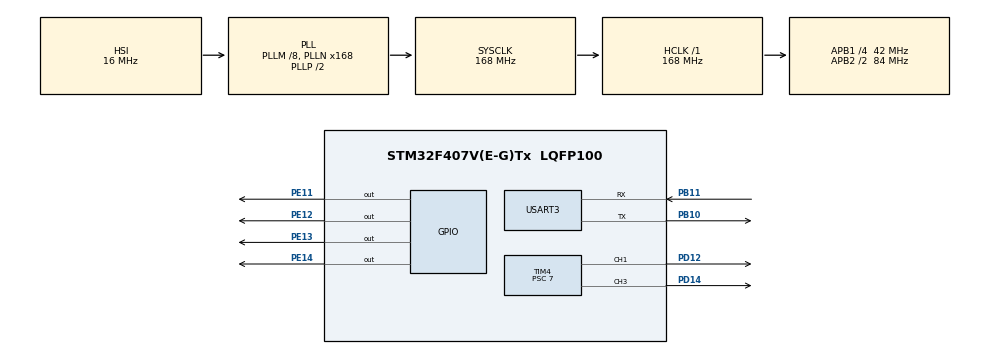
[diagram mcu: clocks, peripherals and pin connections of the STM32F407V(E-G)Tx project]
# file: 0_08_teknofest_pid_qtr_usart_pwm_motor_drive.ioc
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Mcu.Family=STM32F4
Mcu.Name=STM32F407V(E-G)Tx
Mcu.Package=LQFP100
NVIC.PriorityGroup=NVIC_PRIORITYGROUP_4
PB10.Mode=Asynchronous
PB10.Signal=USART3_TX
PB11.Mode=Asynchronous
PB11.Signal=USART3_RX
PD12.Signal=S_TIM4_CH1
PD14.Signal=S_TIM4_CH3
PE11.Signal=GPIO_Output
PE12.Signal=GPIO_Output
PE13.Signal=GPIO_Output
PE14.Signal=GPIO_Output
PH0-OSC_IN.Mode=HSE-External-Oscillator
PH0-OSC_IN.Signal=RCC_OSC_IN
PH1-OSC_OUT.Mode=HSE-External-Oscillator
PH1-OSC_OUT.Signal=RCC_OSC_OUT
ProjectManager.HeapSize=0x200
ProjectManager.StackSize=0x400
ProjectManager.TargetToolchain=TrueSTUDIO
RCC.48MHZClocksFreq_Value=84000000
RCC.AHBFreq_Value=168000000
RCC.APB1CLKDivider=RCC_HCLK_DIV4
RCC.APB1Freq_Value=42000000
RCC.APB1TimFreq_Value=84000000
RCC.APB2CLKDivider=RCC_HCLK_DIV2
RCC.APB2Freq_Value=84000000
RCC.APB2TimFreq_Value=168000000
RCC.CortexFreq_Value=168000000
RCC.HCLKFreq_Value=168000000
RCC.HSE_VALUE=8000000
RCC.HSI_VALUE=16000000
RCC.LSE_VALUE=32768
RCC.PLLM=4
RCC.PLLN=168
RCC.PLLSourceVirtual=RCC_PLLSOURCE_HSE
RCC.SYSCLKFreq_VALUE=168000000
RCC.SYSCLKSource=RCC_SYSCLKSOURCE_PLLCLK
RCC.VCOOutputFreq_Value=336000000
SH.S_TIM4_CH1.0=TIM4_CH1,PWM Generation1 CH1
SH.S_TIM4_CH3.0=TIM4_CH3,PWM Generation3 CH3
TIM4.Channel-PWM\ Generation1\ CH1=TIM_CHANNEL_1
TIM4.Channel-PWM\ Generation3\ CH3=TIM_CHANNEL_3
TIM4.Period=19999
TIM4.Prescaler=7
USART3.VirtualMode=VM_ASYNC
board=custom

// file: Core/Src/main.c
/* USER CODE BEGIN Header */
/**
  ******************************************************************************
  * @file           : main.c
  * @brief          : Main program body
  ******************************************************************************
  * @attention
  *
  * Copyright (c) 2022 STMicroelectronics.
  * All rights reserved.
  *
  * This software is licensed under terms that can be found in the LICENSE file
  * in the root directory of this software component.
  * If no LICENSE file comes with this software, it is provided AS-IS.
  *
  ******************************************************************************
  */
/* USER CODE END Header */
#include "main.h"

TIM_HandleTypeDef htim4;

UART_HandleTypeDef huart3;

/* USER CODE BEGIN PV */

#define rightMotor1 GPIO_PIN_11
#define rightMotor2 GPIO_PIN_12
#define leftMotor1  GPIO_PIN_13
#define leftMotor2  GPIO_PIN_14

#define stmMaxPulse 8500

//pwm usart variable
char rx_buffer[50];
uint32_t pulseUartSol=0, pulseUartSag=0;
char pwmPulseUartCharSol[10];
char pwmPulseUartCharSag[10];

/* USER CODE END PV */

void SystemClock_Config(void);
static void MX_GPIO_Init(void);
static void MX_TIM4_Init(void);
static void MX_USART3_UART_Init(void);
/* USER CODE BEGIN PFP */
void uartMessageDebug();
/* USER CODE END PFP */

/* USER CODE BEGIN 0 */

uint32_t map(long A,long B,long C,long D,long E){

	return ((A*E)/C);

}

void uartMessageDebug(){
	if( rx_buffer[0]=='p' && rx_buffer[1]=='i' && rx_buffer[2]=='d'  && rx_buffer[3]==',' ){
		forward();
		 int temp=0;
		 short k=4,mSol=0,mSag=0;
		 while(1){
			 if( rx_buffer[k] != '\n'){
				 if(rx_buffer[k] == ','){
					 temp = 1;
					 k++;
				 }
				 if(temp==1){
					 pwmPulseUartCharSol[mSol]=rx_buffer[k];   //sol
					 mSol++;
				 }else{
					 pwmPulseUartCharSag[mSag]=rx_buffer[k];  //sag
					 mSag++;
				 }
			       k++;
			 }else {
				pwmPulseUartCharSol[mSol] =rx_buffer[k];
				pwmPulseUartCharSag[mSag] =rx_buffer[k];

			   pulseUartSol=atoi(pwmPulseUartCharSol);
			   pulseUartSag=atoi(pwmPulseUartCharSag);
			   pulseUartSol= map(pulseUartSol,0,100,0,stmMaxPulse);
			   pulseUartSag=map(pulseUartSag,0,100,0,stmMaxPulse);

			   for(int a=0;a<10;a++){
				   pwmPulseUartCharSol[a]='\0';
				   pwmPulseUartCharSag[a]='\0';
			   }
			   temp = 1,k=4,mSol=0,mSag=0;
			   break;
			  }

		 }

	  }

else if( rx_buffer[0]=='d' && rx_buffer[1]=='u' && rx_buffer[2]=='r' ){
	   stop();
    }
  else if( rx_buffer[0]=='s' && rx_buffer[1]=='a' && rx_buffer[2]=='g' ){
	  right();
      }
  else if(rx_buffer[0]=='s' && rx_buffer[1]=='o' && rx_buffer[2]=='l' ){
	  left();
    }else{}

 }

void forward(){

	    HAL_GPIO_WritePin(GPIOE,rightMotor1,GPIO_PIN_SET);
		HAL_GPIO_WritePin(GPIOE,rightMotor2,GPIO_PIN_RESET);
		HAL_GPIO_WritePin(GPIOE,leftMotor1,GPIO_PIN_RESET);
		HAL_GPIO_WritePin(GPIOE,leftMotor2,GPIO_PIN_SET);
}

void left(){

	HAL_GPIO_WritePin(GPIOE,rightMotor1,GPIO_PIN_SET);
	HAL_GPIO_WritePin(GPIOE,rightMotor2,GPIO_PIN_RESET);
	HAL_GPIO_WritePin(GPIOE,leftMotor1,GPIO_PIN_SET);
	HAL_GPIO_WritePin(GPIOE,leftMotor2,GPIO_PIN_RESET);
	pulseUartSol= map(0,0,255,0,10000);
	pulseUartSag =map(240,0,255,0,10000);

}
void right(){
	HAL_GPIO_WritePin(GPIOE,rightMotor1,GPIO_PIN_RESET);
	HAL_GPIO_WritePin(GPIOE,rightMotor2,GPIO_PIN_SET);
	HAL_GPIO_WritePin(GPIOE,leftMotor1,GPIO_PIN_RESET);
	HAL_GPIO_WritePin(GPIOE,leftMotor2,GPIO_PIN_SET);
	pulseUartSol= map(240,0,255,0,10000);
	pulseUartSag =map(0,0,255,0,10000);

}
void stop(){
	HAL_GPIO_WritePin(GPIOE,rightMotor1,GPIO_PIN_RESET);
	HAL_GPIO_WritePin(GPIOE,rightMotor2,GPIO_PIN_RESET);
	HAL_GPIO_WritePin(GPIOE,leftMotor1,GPIO_PIN_RESET);
	HAL_GPIO_WritePin(GPIOE,leftMotor2,GPIO_PIN_RESET);
	pulseUartSol=0;
	pulseUartSag=0;
}

/* USER CODE END 0 */

int main(void)
{

  /* MCU Configuration--------------------------------------------------------*/

  /* Reset of all peripherals, Initializes the Flash interface and the Systick. */
  HAL_Init();

  /* Configure the system clock */
  SystemClock_Config();

  /* Initialize all configured peripherals */
  MX_GPIO_Init();
  MX_TIM4_Init();
  MX_USART3_UART_Init();
  /* USER CODE BEGIN 2 */

       HAL_TIM_PWM_Start(&htim4,TIM_CHANNEL_1);
   	   HAL_TIM_PWM_Start(&htim4,TIM_CHANNEL_3);

	    HAL_GPIO_WritePin(GPIOE,rightMotor1,GPIO_PIN_RESET);
		HAL_GPIO_WritePin(GPIOE,rightMotor2,GPIO_PIN_RESET);
		HAL_GPIO_WritePin(GPIOE,leftMotor1, GPIO_PIN_RESET);
		HAL_GPIO_WritePin(GPIOE,leftMotor2, GPIO_PIN_RESET);

		__HAL_TIM_SetCompare(&htim4,TIM_CHANNEL_1,0);
		__HAL_TIM_SetCompare(&htim4,TIM_CHANNEL_3,0);

  /* USER CODE END 2 */

  /* Infinite loop */
  while (1)
  {

    /* USER CODE BEGIN 3 */

	    HAL_UART_Receive(&huart3,rx_buffer,50,100);
		uartMessageDebug();
	  __HAL_TIM_SetCompare(&htim4,TIM_CHANNEL_1,pulseUartSag);
	  __HAL_TIM_SetCompare(&htim4,TIM_CHANNEL_3,pulseUartSol);

	  for(int a=0;a<50;a++) {
		  rx_buffer[a]='\0';
	  }

  }
  /* USER CODE END 3 */
}

void SystemClock_Config(void)
{
  RCC_OscInitTypeDef RCC_OscInitStruct = {0};
  RCC_ClkInitTypeDef RCC_ClkInitStruct = {0};

  /** Configure the main internal regulator output voltage
  */
  __HAL_RCC_PWR_CLK_ENABLE();
  __HAL_PWR_VOLTAGESCALING_CONFIG(PWR_REGULATOR_VOLTAGE_SCALE1);
  /** Initializes the RCC Oscillators according to the specified parameters
  * in the RCC_OscInitTypeDef structure.
  */
  RCC_OscInitStruct.OscillatorType = RCC_OSCILLATORTYPE_HSI;
  RCC_OscInitStruct.HSIState = RCC_HSI_ON;
  RCC_OscInitStruct.HSICalibrationValue = RCC_HSICALIBRATION_DEFAULT;
  RCC_OscInitStruct.PLL.PLLState = RCC_PLL_ON;
  RCC_OscInitStruct.PLL.PLLSource = RCC_PLLSOURCE_HSI;
  RCC_OscInitStruct.PLL.PLLM = 8;
  RCC_OscInitStruct.PLL.PLLN = 168;
  RCC_OscInitStruct.PLL.PLLP = RCC_PLLP_DIV2;
  RCC_OscInitStruct.PLL.PLLQ = 4;
  if (HAL_RCC_OscConfig(&RCC_OscInitStruct) != HAL_OK)
  {
    Error_Handler();
  }
  /** Initializes the CPU, AHB and APB buses clocks
  */
  RCC_ClkInitStruct.ClockType = RCC_CLOCKTYPE_HCLK|RCC_CLOCKTYPE_SYSCLK
                              |RCC_CLOCKTYPE_PCLK1|RCC_CLOCKTYPE_PCLK2;
  RCC_ClkInitStruct.SYSCLKSource = RCC_SYSCLKSOURCE_PLLCLK;
  RCC_ClkInitStruct.AHBCLKDivider = RCC_SYSCLK_DIV1;
  RCC_ClkInitStruct.APB1CLKDivider = RCC_HCLK_DIV4;
  RCC_ClkInitStruct.APB2CLKDivider = RCC_HCLK_DIV2;

  if (HAL_RCC_ClockConfig(&RCC_ClkInitStruct, FLASH_LATENCY_5) != HAL_OK)
  {
    Error_Handler();
  }
}

static void MX_TIM4_Init(void)
{

  TIM_MasterConfigTypeDef sMasterConfig = {0};
  TIM_OC_InitTypeDef sConfigOC = {0};

  htim4.Instance = TIM4;
  htim4.Init.Prescaler = 7;
  htim4.Init.CounterMode = TIM_COUNTERMODE_UP;
  htim4.Init.Period = 19999;
  htim4.Init.ClockDivision = TIM_CLOCKDIVISION_DIV1;
  htim4.Init.AutoReloadPreload = TIM_AUTORELOAD_PRELOAD_DISABLE;
  if (HAL_TIM_PWM_Init(&htim4) != HAL_OK)
  {
    Error_Handler();
  }
  sMasterConfig.MasterOutputTrigger = TIM_TRGO_RESET;
  sMasterConfig.MasterSlaveMode = TIM_MASTERSLAVEMODE_DISABLE;
  if (HAL_TIMEx_MasterConfigSynchronization(&htim4, &sMasterConfig) != HAL_OK)
  {
    Error_Handler();
  }
  sConfigOC.OCMode = TIM_OCMODE_PWM1;
  sConfigOC.Pulse = 0;
  sConfigOC.OCPolarity = TIM_OCPOLARITY_HIGH;
  sConfigOC.OCFastMode = TIM_OCFAST_DISABLE;
  if (HAL_TIM_PWM_ConfigChannel(&htim4, &sConfigOC, TIM_CHANNEL_1) != HAL_OK)
  {
    Error_Handler();
  }
  if (HAL_TIM_PWM_ConfigChannel(&htim4, &sConfigOC, TIM_CHANNEL_3) != HAL_OK)
  {
    Error_Handler();
  }
  HAL_TIM_MspPostInit(&htim4);

}

static void MX_USART3_UART_Init(void)
{

  huart3.Instance = USART3;
  huart3.Init.BaudRate = 115200;
  huart3.Init.WordLength = UART_WORDLENGTH_8B;
  huart3.Init.StopBits = UART_STOPBITS_1;
  huart3.Init.Parity = UART_PARITY_NONE;
  huart3.Init.Mode = UART_MODE_TX_RX;
  huart3.Init.HwFlowCtl = UART_HWCONTROL_NONE;
  huart3.Init.OverSampling = UART_OVERSAMPLING_16;
  if (HAL_UART_Init(&huart3) != HAL_OK)
  {
    Error_Handler();
  }

}

static void MX_GPIO_Init(void)
{
  GPIO_InitTypeDef GPIO_InitStruct = {0};

  /* GPIO Ports Clock Enable */
  __HAL_RCC_GPIOH_CLK_ENABLE();
  __HAL_RCC_GPIOE_CLK_ENABLE();
  __HAL_RCC_GPIOB_CLK_ENABLE();
  __HAL_RCC_GPIOD_CLK_ENABLE();

  /*Configure GPIO pin Output Level */
  HAL_GPIO_WritePin(GPIOE, GPIO_PIN_11|GPIO_PIN_12|GPIO_PIN_13|GPIO_PIN_14, GPIO_PIN_RESET);

  /*Configure GPIO pins : PE11 PE12 PE13 PE14 */
  GPIO_InitStruct.Pin = GPIO_PIN_11|GPIO_PIN_12|GPIO_PIN_13|GPIO_PIN_14;
  GPIO_InitStruct.Mode = GPIO_MODE_OUTPUT_PP;
  GPIO_InitStruct.Pull = GPIO_NOPULL;
  GPIO_InitStruct.Speed = GPIO_SPEED_FREQ_LOW;
  HAL_GPIO_Init(GPIOE, &GPIO_InitStruct);

}

void Error_Handler(void)
{
  __disable_irq();
  while (1)
  {
  }
}
